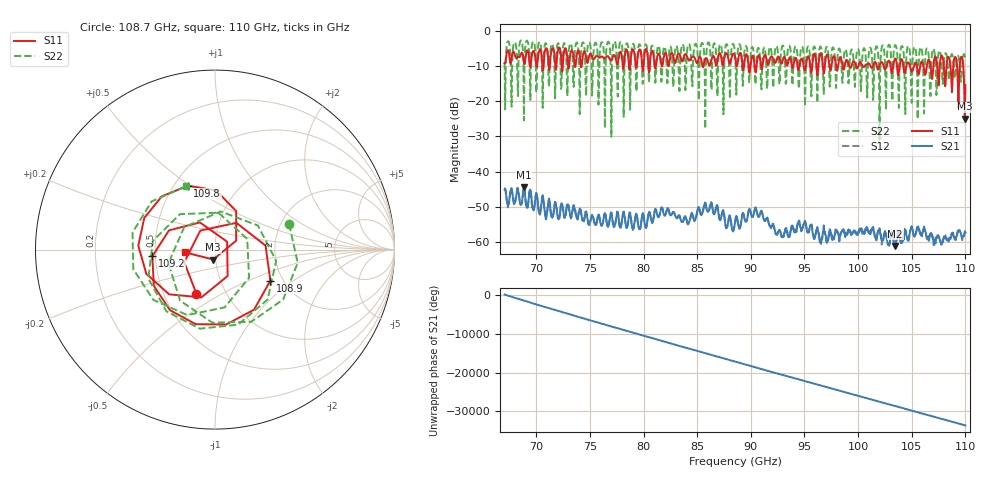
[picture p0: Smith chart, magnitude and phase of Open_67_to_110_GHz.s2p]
#  HZ  S  MA  R  50.00
! Rohde & Schwarz ZVA67 4Ports - Version 4.11 - 1305.7002k04 SN: 101051
! Date: 2023-09-13 17:18:03
! Measurements: S11 S21 S12 S22
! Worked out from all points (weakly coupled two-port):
!   860 points, 67.05 GHz to 110 GHz, reference 50 ohm
!   highest |S21| = -44.50 dB at 68.85 GHz (marker M1); lowest = -61.2 dB at 103.5 GHz (marker M2)
!   lowest |S11| = -25.0 dB at 110 GHz (marker M3), VSWR 1.12, Z = 48.7 - j5.41 ohm
!   |S11| at or under -10 dB: 104.8275 GHz to 105.1941 GHz (366.6 MHz wide, 0.349 % of centre); 105.4648 GHz to 105.7923 GHz (327.5 MHz wide, 0.31 % of centre); 106.0905 GHz to 106.4061 GHz (315.7 MHz wide, 0.297 % of centre) (the widest 3 of 49)
!   |S22| runs from -30.8 to -2.7 dB; largest |S21 - S12| = 0.00069
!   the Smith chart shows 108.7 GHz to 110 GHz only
!   S11 on the Smith chart (normalised r, x): 108.7 GHz: 0.73, -0.38; 108.9 GHz: 1.72, -0.68; 109.2 GHz: 0.48, -0.04; 109.8 GHz: 0.59, +0.49; 110 GHz: 0.71, -0.02
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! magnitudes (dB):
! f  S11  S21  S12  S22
! 67.05 GHz  -9.2  -45.2  -45.3  -8.9
! 67.4 GHz  -5.6  -49.4  -49.5  -2.9
! 68.85 GHz  -8.9  -44.5  -44.7  -25.5
! 74.25 GHz  -9.6  -52.9  -52.8  -3.8
! 81.4 GHz  -6.4  -53.0  -52.9  -4.2
! 88.55 GHz  -7.8  -54.0  -54.0  -7.7
! 90.45 GHz  -11.8  -50.3  -50.3  -15.2
! 95.7 GHz  -10.6  -55.7  -55.9  -10.4
! 101.7 GHz  -9.4  -59.6  -58.6  -4.3
! 102 GHz  -9.7  -56.2  -56.5  -30.8
! 102.8 GHz  -8.4  -61.0  -61.0  -3.9
! 103.5 GHz  -7.8  -61.2  -61.1  -4.0
! 103.8 GHz  -12.6  -57.4  -57.5  -16.5
! 104.1 GHz  -8.2  -60.2  -60.3  -4.2
! 104.3 GHz  -11.9  -56.4  -56.6  -15.8
! 104.7 GHz  -9.0  -59.7  -59.4  -4.3
! 108.7 GHz  -11.5  -58.9  -58.2  -7.2
! 108.9 GHz  -9.0  -58.4  -58.7  -9.3
! 109.2 GHz  -9.1  -58.4  -58.4  -7.9
! 109.8 GHz  -8.3  -58.4  -58.9  -8.0
! 110 GHz  -25.0  -57.0  -57.6  -7.1
! 110 GHz  -15.4  -57.4  -57.3  -8.2
